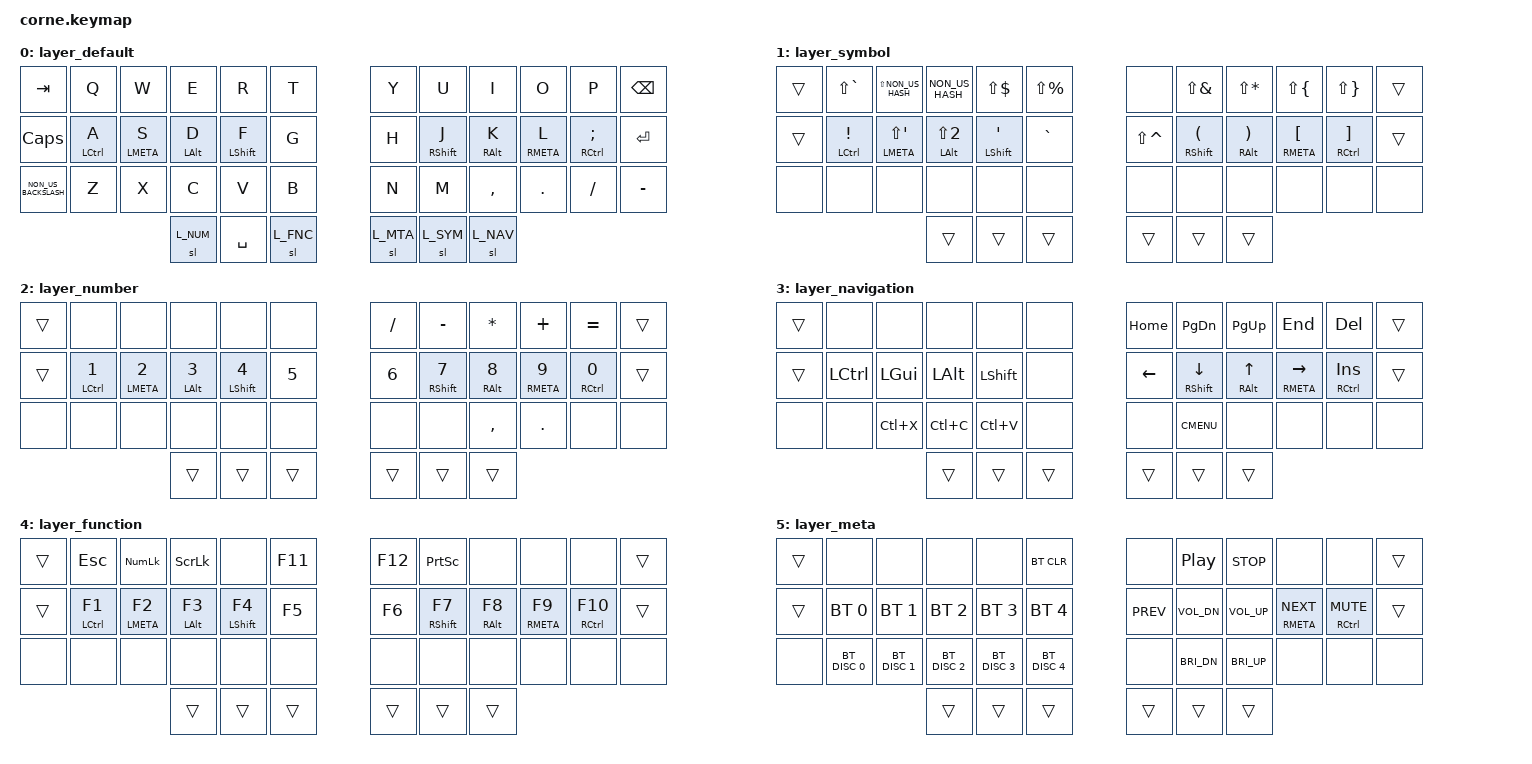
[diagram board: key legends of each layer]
/*
 * TODO:
 *
 * - consider increasing bluetooth strength if connection is weak
 *   https://zmk.dev/docs/troubleshooting/connection-issues#unreliableweak-connection
 *
 */
#include <behaviors.dtsi>
#include <dt-bindings/zmk/bt.h>
#include <dt-bindings/zmk/keys.h>

// Layer aliases

#define L_DEF 0  // default
#define L_SYM 1  // symbol
#define L_NUM 2  // number
#define L_NAV 3  // navigation
#define L_FNC 4  // function
#define L_MTA 5  // meta

/ {
    behaviors {
        hm: homerow_mods {
            compatible = "zmk,behavior-hold-tap";
            #binding-cells = <2>;
            tapping-term-ms = <200>;
            quick-tap-ms = <200>;
            flavor = "tap-preferred";
            bindings = <&kp>, <&kp>;
        };
    };

    combos {
        compatible = "zmk,combos";

        double_shift_caps_word {
            timeout-ms = <50>;
            key-positions = <16 19>;
            layers = <0>;
            bindings = <&caps_word>;
        };
    };

    keymap {
        compatible = "zmk,keymap";

        layer_default {
            bindings = <
&kp TAB               &kp Q        &kp W        &kp E       &kp R        &kp T        &kp Y      &kp U        &kp I       &kp O        &kp P           &kp BSPC
&kp CAPS              &hm LCTRL A  &hm LMETA S  &hm LALT D  &hm LSHFT F  &kp G        &kp H      &hm RSHFT J  &hm RALT K  &hm RMETA L  &hm RCTRL SEMI  &kp ENTER
&kp NON_US_BACKSLASH  &kp Z        &kp X        &kp C       &kp V        &kp B        &kp N      &kp M        &kp COMMA   &kp DOT      &kp FSLH        &kp MINUS
                                                &sl L_NUM   &kp SPACE    &sl L_FNC    &sl L_MTA  &sl L_SYM    &sl L_NAV
            >;
        };

        layer_symbol {
            bindings = <
&trans  &kp LS(GRAVE)          &kp LS(NON_US_HASH)  &kp NON_US_HASH  &kp LS(DLLR)   &kp LS(PRCNT)    &none          &kp LS(AMPS)    &kp LS(STAR)   &kp LS(LBRC)    &kp LS(RBRC)    &trans
&trans  &hm LCTRL EXCLAMATION  &hm LMETA LS(SQT)    &hm LALT LS(N2)  &hm LSHFT SQT  &kp GRAVE        &kp LS(CARET)  &hm RSHFT LPAR  &hm RALT RPAR  &hm RMETA LBKT  &hm RCTRL RBKT  &trans
&none   &none                  &none                &none            &none          &none            &none          &none           &none          &none           &none           &none
                                                    &trans           &trans         &trans           &trans         &trans          &trans
            >;
        };

        layer_number {
            bindings = <
&trans  &none         &none         &none        &none         &none     &kp FSLH  &kp MINUS     &kp STAR     &kp PLUS      &kp EQUAL     &trans
&trans  &hm LCTRL N1  &hm LMETA N2  &hm LALT N3  &hm LSHFT N4  &kp N5    &kp N6    &hm RSHFT N7  &hm RALT N8  &hm RMETA N9  &hm RCTRL N0  &trans
&none   &none         &none         &none        &none         &none     &none     &none         &kp COMMA    &kp DOT       &none         &none
                                    &trans       &trans        &trans    &trans    &trans        &trans
            >;
        };

        layer_navigation {
            bindings = <
&trans  &none      &none      &none      &none      &none     &kp HOME  &kp PG_DN       &kp PG_UP    &kp END          &kp DEL        &trans
&trans  &kp LCTRL  &kp LGUI   &kp LALT   &kp LSHFT  &none     &kp LEFT  &hm RSHFT DOWN  &hm RALT UP  &hm RMETA RIGHT  &hm RCTRL INS  &trans
&none   &none      &kp LC(X)  &kp LC(C)  &kp LC(V)  &none     &none     &kp K_CMENU     &none        &none            &none          &none
                              &trans     &trans     &trans    &trans    &trans          &trans
            >;
        };

        layer_function {
            bindings = <
&trans  &kp ESC       &kp KP_NLCK   &kp SLCK     &none         &kp F11   &kp F12 &kp PSCRN     &none        &none         &none          &trans
&trans  &hm LCTRL F1  &hm LMETA F2  &hm LALT F3  &hm LSHFT F4  &kp F5    &kp F6  &hm RSHFT F7  &hm RALT F8  &hm RMETA F9  &hm RCTRL F10  &trans
&none   &none         &none         &none        &none         &none     &none   &none         &none        &none         &none          &none
                                    &trans       &trans        &trans    &trans  &trans        &trans
            >;
        };

        layer_meta {
            bindings = <
&trans  &none          &none          &none          &none          &bt BT_CLR       &none       &kp C_PLAY_PAUSE  &kp C_STOP    &none             &none             &trans
&trans  &bt BT_SEL 0   &bt BT_SEL 1   &bt BT_SEL 2   &bt BT_SEL 3   &bt BT_SEL 4     &kp C_PREV  &kp C_VOL_DN      &kp C_VOL_UP  &hm RMETA C_NEXT  &hm RCTRL C_MUTE  &trans
&none   &bt BT_DISC 0  &bt BT_DISC 1  &bt BT_DISC 2  &bt BT_DISC 3  &bt BT_DISC 4    &none       &kp C_BRI_DN      &kp C_BRI_UP  &none             &none             &none
                                      &trans         &trans         &trans           &trans      &trans            &trans
            >;
        };
    };
};
